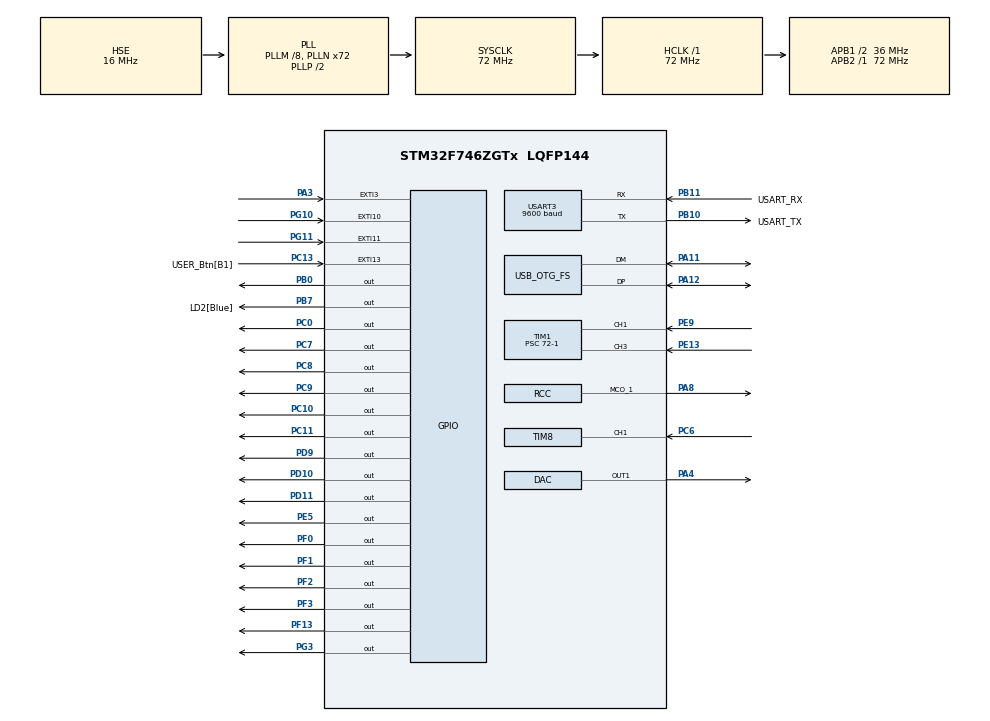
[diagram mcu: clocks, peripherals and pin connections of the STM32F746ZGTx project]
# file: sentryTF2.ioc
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Mcu.Family=STM32F7
NVIC.USART3_IRQn=true\:0\:0\:false\:false\:true\:true\:true
TIM8.ICPolarity_CH2=TIM_INPUTCHANNELPOLARITY_FALLING
RCC.CortexFreq_Value=72000000
PB10.GPIO_Speed=GPIO_SPEED_FREQ_LOW
PB10.Mode=Asynchronous
NVIC.TIM6_DAC_IRQn=true\:0\:0\:false\:false\:true\:true\:true
PC10.Signal=GPIO_Output
NVIC.EXTI3_IRQn=true\:0\:0\:false\:false\:true\:true\:true
PA11.Mode=Device_Only
PC13.GPIO_Label=USER_Btn[B1]
PB11.Signal=USART3_RX
PG11.Signal=GPXTI11
RCC.SYSCLKSource=RCC_SYSCLKSOURCE_PLLCLK
ProjectManager.StackSize=0x400
PB11.GPIO_Speed=GPIO_SPEED_FREQ_LOW
USART3.VirtualMode-Asynchronous=VM_ASYNC
VP_TIM1_VS_ControllerModeReset.Mode=Reset Mode
PA12.Signal=USB_OTG_FS_DP
TIM1.Prescaler=72-1
USART3.BaudRate=9600
PH0/OSC_IN.Mode=HSE-External-Oscillator
RCC.HCLKFreq_Value=72000000
Dma.DAC1.0.PeriphInc=DMA_PINC_DISABLE
RCC.APB2TimFreq_Value=72000000
TIM3.Period=65535-1
PC7.Signal=GPIO_Output
PH1/OSC_OUT.Signal=RCC_OSC_OUT
PE5.Signal=GPIO_Output
Dma.DAC1.0.Direction=DMA_MEMORY_TO_PERIPH
RCC.AHBFreq_Value=72000000
NVIC.EXTI15_10_IRQn=true\:0\:0\:false\:false\:true\:true\:true
RCC.HSE_VALUE=16000000
PB3.Mode=Trace_Asynchronous_SW
Dma.DAC1.0.Priority=DMA_PRIORITY_HIGH
PE13.Signal=S_TIM1_CH3
DAC.DAC_Trigger=DAC_TRIGGER_T6_TRGO
PE9.Signal=S_TIM1_CH1
Dma.DAC1.0.FIFOMode=DMA_FIFOMODE_DISABLE
TIM1.Channel-Input_Capture3_from_TI3=TIM_CHANNEL_3
PA14.Mode=Trace_Asynchronous_SW
TIM3.Prescaler=72-1
PB7.Signal=GPIO_Output
PA8.Signal=RCC_MCO_1
TIM6.Period=1632-1
PF3.Signal=GPIO_Output
PH1/OSC_OUT.Mode=HSE-External-Oscillator
TIM1.Channel-Input_Capture2_from_TI1=TIM_CHANNEL_2
VP_TIM1_VS_ClockSourceINT.Mode=Internal
PB7.GPIO_Label=LD2[Blue]
Mcu.Package=LQFP144
Dma.DAC1.0.PeriphDataAlignment=DMA_PDATAALIGN_HALFWORD
Dma.DAC1.0.Mode=DMA_CIRCULAR
USB_OTG_FS.VirtualMode=Device_Only
TIM8.Prescaler=72-1
TIM1.ICPolarity_CH2=TIM_INPUTCHANNELPOLARITY_FALLING
RCC.APB1TimFreq_Value=72000000
TIM1.ICPolarity_CH4=TIM_INPUTCHANNELPOLARITY_FALLING
PF0.Signal=GPIO_Output
PC0.GPIO_PuPd=GPIO_PULLUP
Dma.Request0=DAC1
VP_TIM3_VS_ClockSourceINT.Mode=Internal
PA3.Signal=GPXTI3
SH.COMP_DAC1_group.0=DAC_OUT1,DAC_OUT1
PG11.GPIO_ModeDefaultEXTI=GPIO_MODE_IT_RISING_FALLING
Dma.DAC1.0.Instance=DMA1_Stream5
PG3.Signal=GPIO_Output
PC13.Signal=GPXTI13
PC11.Signal=GPIO_Output
PC8.Signal=GPIO_Output
TIM6.Prescaler=0
PC6.Signal=S_TIM8_CH1
VP_TIM6_VS_ClockSourceINT.Mode=Enable_Timer
PB11.GPIO_Label=USART_RX
TIM8.Channel-Input_Capture1_from_TI1=TIM_CHANNEL_1
PD9.Signal=GPIO_Output
PG10.GPIO_ModeDefaultEXTI=GPIO_MODE_IT_RISING_FALLING
PC0.Signal=GPIO_Output
RCC.APB1CLKDivider=RCC_HCLK_DIV2
PG10.Signal=GPXTI10
Dma.DAC1.0.MemDataAlignment=DMA_MDATAALIGN_HALFWORD
PD10.Signal=GPIO_Output
PA13.Signal=SYS_JTMS-SWDIO
NVIC.TIM8_CC_IRQn=true\:0\:0\:false\:false\:true\:true\:true
SH.S_TIM1_CH1.0=TIM1_CH1,TriggerSource_TI1FP1
SH.S_TIM1_CH1.1=TIM1_CH1,Input_Capture1_from_TI1
SH.S_TIM1_CH1.2=TIM1_CH1,Input_Capture2_from_TI1
PB11.Mode=Asynchronous
ProjectManager.TargetToolchain=STM32CubeIDE
PB10.GPIO_Label=USART_TX
NVIC.DMA1_Stream5_IRQn=true\:0\:0\:false\:false\:true\:false\:true
VP_TIM8_VS_ClockSourceINT.Mode=Internal
PF2.Signal=GPIO_Output
RCC.USBFreq_Value=48000000
RCC.LSE_VALUE=32768
PB10.Signal=USART3_TX
SH.S_TIM8_CH1.0=TIM8_CH1,TriggerSource_TI1FP1
SH.S_TIM8_CH1.1=TIM8_CH1,Input_Capture1_from_TI1
SH.S_TIM8_CH1.2=TIM8_CH1,Input_Capture2_from_TI1
board=custom
RCC.VCOOutputFreq_Value=144000000
PH0/OSC_IN.Signal=RCC_OSC_IN
RCC.APB2Freq_Value=72000000
TIM6.TIM_MasterOutputTrigger=TIM_TRGO_UPDATE
PF13.Signal=GPIO_Output
PF1.Signal=GPIO_Output
PA13.Mode=Trace_Asynchronous_SW
Mcu.Name=STM32F746ZGTx
NVIC.TIM1_CC_IRQn=true\:0\:0\:false\:false\:true\:true\:true
PB3.Signal=SYS_JTDO-SWO
PA4.Signal=COMP_DAC1_group
RCC.SYSCLKFreq_VALUE=72000000
PA12.Mode=Device_Only
Dma.DAC1.0.MemInc=DMA_MINC_ENABLE
TIM1.Channel-Input_Capture1_from_TI1=TIM_CHANNEL_1
PD11.Signal=GPIO_Output
PA11.Signal=USB_OTG_FS_DM
SH.S_TIM1_CH3.1=TIM1_CH3,Input_Capture4_from_TI3
PA14.Signal=SYS_JTCK-SWCLK
ProjectManager.HeapSize=0x200
SH.S_TIM1_CH3.0=TIM1_CH3,Input_Capture3_from_TI3
RCC.HSI_VALUE=16000000
RCC.PLLQ=3
NVIC.PriorityGroup=NVIC_PRIORITYGROUP_4
RCC.PLLM=8
TIM8.Channel-Input_Capture2_from_TI1=TIM_CHANNEL_2
RCC.PLLN=72
PA8.Mode=Clock-out-1
PC9.Signal=GPIO_Output
RCC.APB1Freq_Value=36000000
PB0.Signal=GPIO_Output
VP_TIM8_VS_ControllerModeReset.Mode=Reset Mode
TIM1.Channel-Input_Capture4_from_TI3=TIM_CHANNEL_4

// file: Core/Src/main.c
/* USER CODE BEGIN Header */
/**
  ******************************************************************************
  * @file           : main.c
  * @brief          : Main program body
  ******************************************************************************
  * @attention
  *
  * <h2><center>&copy; Copyright (c) 2021 STMicroelectronics.
  * All rights reserved.</center></h2>
  *
  * This software component is licensed by ST under BSD 3-Clause license,
  * the "License"; You may not use this file except in compliance with the
  * License. You may obtain a copy of the License at:
  *                        opensource.org/licenses/BSD-3-Clause
  *
  ******************************************************************************
  */
/* USER CODE END Header */
#include "main.h"

/* USER CODE BEGIN Includes */
#include "math.h"
#include "string.h"
/* USER CODE END Includes */

/* USER CODE BEGIN PM */
#define PI 3.1415926
#define stepsPerRev (200*4) // quarter step
/* USER CODE END PM */

DAC_HandleTypeDef hdac;
DMA_HandleTypeDef hdma_dac1;

TIM_HandleTypeDef htim1;
TIM_HandleTypeDef htim3;
TIM_HandleTypeDef htim6;
TIM_HandleTypeDef htim8;

UART_HandleTypeDef huart3;

PCD_HandleTypeDef hpcd_USB_OTG_FS;

void SystemClock_Config(void);
static void MX_GPIO_Init(void);
static void MX_DMA_Init(void);
static void MX_TIM1_Init(void);
static void MX_TIM3_Init(void);
static void MX_DAC_Init(void);
static void MX_USART3_UART_Init(void);
static void MX_TIM8_Init(void);
static void MX_TIM6_Init(void);
static void MX_USB_OTG_FS_PCD_Init(void);
/* USER CODE BEGIN PFP */
static void delay_us(uint16_t us);
static void calcObjDist(uint32_t totalTime, uint8_t sensorNumber);
static void sensorRoutine();
static void sentryFireRoutine();
static void sentrySapped(uint8_t status);
static void stepper_step_angle(float angle, float rpm, uint8_t direction);
static void step();
static void playAudio(uint8_t audioTrack);
//static void getSineVal(); Use to test DAC
/* USER CODE END PFP */

/* USER CODE BEGIN 0 */
/* ----------------- Ultrasonic sensor variables ------------------- */
uint8_t leftSensorFirstCapt = 0, centerSensorFirstCapt = 0, rightSensorFirstCapt = 0;
uint32_t totalTimeLeft = 0, totalTimeCenter = 0, totalTimeRight = 0;
int32_t totalFinal = 0;
int velSound = 34300; // in cm/s
int distanceLeft = 0, distanceCenter = 0, distanceRight = 0;

/* ----------------- Sentry stats variables ------------------- */
uint8_t sentryHealth = 100;
extern uint8_t shells = 100;

/* ----------------- Audio variables ------------------- */
int count = 0;
uint8_t *tempPointer_DAC; // 8 bit data, so 8 bit pointer
extern uint8_t *__SENTRY_SHOOT, *__SENTRY_SPOT, *__SENTRY_SCAN, *__SENTRY_EMPTY;
int sentryShoot_wavSize = 62330;
int sentrySpot_wavSize = 29764;
int sentryScan_wavSize = 35396;
int sentryEmpty_wavSize = 2678;
uint8_t *sentryShootWavPointer = (uint8_t*)&__SENTRY_SHOOT;
uint8_t *sentrySpotWavPointer = (uint8_t*)&__SENTRY_SPOT;
uint8_t *sentryScanWavPointer = (uint8_t*)&__SENTRY_SCAN;
uint8_t *sentryEmptyWavPointer = (uint8_t*)&__SENTRY_EMPTY;
uint16_t volatile wavBuffer[512];

/* ----------------- Use to test DAC ------------------- */
//uint16_t samples = 100;
//uint32_t sineVal[100];

/*void getSineVal(){ // Use to test DAC
	for(int i = 0; i < samples; i++){
		sineVal[i] = (sin(2*i*PI/samples)+1)*((0xFFF+1)/2);
	}
}*/

void delay_us(uint16_t us){ // Delay microseconds
	__HAL_TIM_SET_COUNTER(&htim3,0); // Set counter start to 0
	while(__HAL_TIM_GET_COUNTER(&htim3) < us);
}

void HAL_TIM_IC_CaptureCallback(TIM_HandleTypeDef *htim){
	/* Left Sensor */
	if(htim == &htim1 && htim->Channel == HAL_TIM_ACTIVE_CHANNEL_1){
		if(leftSensorFirstCapt == 0) leftSensorFirstCapt++;
		else if(leftSensorFirstCapt == 1){
			totalTimeLeft = HAL_TIM_ReadCapturedValue(htim, TIM_CHANNEL_2); //Retrieves pulse width value from ultrasonic
			calcObjDist(totalTimeLeft,0);
			leftSensorFirstCapt--;
		}
	}
	/* Center Sensor */
	if(htim == &htim1 && htim->Channel == HAL_TIM_ACTIVE_CHANNEL_3){
		if(centerSensorFirstCapt == 0) centerSensorFirstCapt++;
		else if(centerSensorFirstCapt == 1){
			totalTimeCenter = HAL_TIM_ReadCapturedValue(htim, TIM_CHANNEL_4); //Retrieves pulse width value from ultrasonic
			calcObjDist(totalTimeCenter,1);
			centerSensorFirstCapt--;
		}
	}
	/* Right Sensor */
	if(htim == &htim8 && htim->Channel == HAL_TIM_ACTIVE_CHANNEL_1){
		if(rightSensorFirstCapt == 0) rightSensorFirstCapt++;
		else if(rightSensorFirstCapt == 1){
			totalTimeRight = HAL_TIM_ReadCapturedValue(htim, TIM_CHANNEL_2); //Retrieves pulse width value from ultrasonic
			calcObjDist(totalTimeRight,2);
			rightSensorFirstCapt--;
		}
	}
}

void calcObjDist(uint32_t totalTime, uint8_t sensorNumber){
	totalFinal = totalTime/2;
	switch(sensorNumber){
		case 0: // Left sensor
			distanceLeft = totalFinal * velSound * pow(10,-6);
			break;
		case 1: // Center sensor
			distanceCenter = totalFinal * velSound * pow(10,-6);
			break;
		case 2: // Right sensor
			distanceRight = totalFinal * velSound * pow(10,-6);
			break;
	}

}

void sensorRoutine(){
	HAL_GPIO_WritePin(GPIOD, GPIO_PIN_9, GPIO_PIN_SET); // Left sensor
	HAL_GPIO_WritePin(GPIOD, GPIO_PIN_10, GPIO_PIN_SET); // Center sensor
	HAL_GPIO_WritePin(GPIOD, GPIO_PIN_11, GPIO_PIN_SET); // Right sensor
	delay_us(100);
	HAL_GPIO_WritePin(GPIOD, GPIO_PIN_9, GPIO_PIN_RESET); // Left sensor
	HAL_GPIO_WritePin(GPIOD, GPIO_PIN_10, GPIO_PIN_RESET); // Center sensor
	HAL_GPIO_WritePin(GPIOD, GPIO_PIN_11, GPIO_PIN_RESET); // Right sensor
	HAL_Delay(100);
}

void sentryFireRoutine(){
	if(shells > 0){ // Ammo not empty
		UART3_TransferChar('1'); // Tell PDA App the sentry is firing
		shells =- 10;
		for(int i = 0; i < 12; i++){
		  HAL_GPIO_TogglePin(GPIOF, GPIO_PIN_0);
		  HAL_GPIO_TogglePin(GPIOF, GPIO_PIN_1);
		  playAudio(3); // Play sentry Fire sound
		  HAL_Delay(10);
		  HAL_GPIO_TogglePin(GPIOF, GPIO_PIN_0);
		  HAL_GPIO_TogglePin(GPIOF, GPIO_PIN_1);
		  HAL_Delay(10);
		  //HAL_Delay(240);
		}
	}
	if(shells <= 0){
		playAudio(4); // Sentry out of shells firing sound
	}
}

void sentrySapped(uint8_t status){
	if(status == 0){
		UART3_TransferChar('3'); // Tell PDA App the sentry has been unsapped
		HAL_GPIO_WritePin(GPIOC, GPIO_PIN_7, GPIO_PIN_RESET); // A4988 ENABLE Pin trigger, will re-enable motor
	}
	else{
		UART3_TransferChar('2'); // Tell PDA App the sentry has been sapped
		HAL_GPIO_WritePin(GPIOC, GPIO_PIN_7, GPIO_PIN_SET); // A4988 ENABLE Pin trigger, will disable motor
	}
}

void HAL_GPIO_EXTI_Callback (uint16_t GPIO_Pin){
	if(GPIO_Pin == GPIO_PIN_10){
		if(HAL_GPIO_ReadPin(GPIOG, GPIO_PIN_10) == GPIO_PIN_RESET && HAL_GPIO_ReadPin(GPIOG, GPIO_PIN_11) == GPIO_PIN_RESET){ // Hall sensors go low
			sentrySapped(1);
		}
		else if(HAL_GPIO_ReadPin(GPIOG, GPIO_PIN_10) == GPIO_PIN_SET && HAL_GPIO_ReadPin(GPIOG, GPIO_PIN_11) == GPIO_PIN_SET){ // Hall sensors go back to high
			sentrySapped(0);
			HAL_GPIO_WritePin(GPIOC, GPIO_PIN_7, GPIO_PIN_RESET); // A4988 ENABLE Pin trigger, will re-enable motor
		}
	}
}

void playAudio(uint8_t audioTrack){
	switch(audioTrack){
		case 1: // sentry scan sound
			tempPointer_DAC = (uint8_t *)sentryScanWavPointer;
			count = sentryScan_wavSize;
			break;
		case 2: // sentry spot client sound
			tempPointer_DAC = (uint8_t *)sentrySpotWavPointer;
			count = sentrySpot_wavSize;
			break;
		case 3: // sentry firing sound
			tempPointer_DAC = (uint8_t *)sentryShootWavPointer;
			count = sentryShoot_wavSize;
			break;
		case 4: // sentry empty clip sound
			tempPointer_DAC = (uint8_t *)sentryEmptyWavPointer;
			count = sentryEmpty_wavSize;
	}
	for(int i = 0; i < 512; i++){
		wavBuffer[i] = *tempPointer_DAC << 4;
		tempPointer_DAC++;
	}
	count -= 512;
	while(count > 0){
		HAL_DAC_Start_DMA(&hdac, DAC_CHANNEL_1, (uint32_t*)wavBuffer, 512, DAC_ALIGN_12B_R);
	}
	HAL_DAC_Stop_DMA(&hdac, DAC_CHANNEL_1);
}

void stepper_set_rpm(float rpm){
	delay_us(60000000/stepsPerRev/rpm);
}

void step(){ // A4988 Step pin
	HAL_GPIO_WritePin(GPIOC, GPIO_PIN_8, GPIO_PIN_SET);
	delay_us(1);
	HAL_GPIO_WritePin(GPIOC, GPIO_PIN_8, GPIO_PIN_RESET);
}

void stepper_step_angle(float angle, float rpm, uint8_t direction){
	float anglePerStep = 1.8/4; // Quarter step
	int numOfSteps = (int) (angle/anglePerStep);
	for(int i = 0; i < numOfSteps; i++){
		if(direction == 0) {// Clockwise
			HAL_GPIO_WritePin(GPIOC, GPIO_PIN_9, GPIO_PIN_RESET);
			step();
			stepper_set_rpm(rpm);
		}
		if(direction == 1) {// Counter Clockwise
			HAL_GPIO_WritePin(GPIOC, GPIO_PIN_9, GPIO_PIN_SET);
			step();
			stepper_set_rpm(rpm);
		}
	}
}

/* My UART functions below and in the interrupt handler write directly to the registers because I struggled with the HAL functions and read online that
 * the HAL UART functions are not that great and most people seem to say just write your own.
 */
void UART3_TransferChar(char c){
	USART3->CR1 |= 1 << 3; //Set TE to 1t
	USART3->TDR = c;
	while(!(USART3->ISR & (1<<6))); // Wait for TC bit
	USART3->CR1 &= ~(1<<3); //Set TE to 0
}

void UART3_TransferString(char str[]){
	for(int i = 0; i < strlen(str); i++){
		UART3_TransferChar(str[i]);
	}
}

/* USER CODE END 0 */

int main(void)
{

  /* MCU Configuration--------------------------------------------------------*/

  /* Reset of all peripherals, Initializes the Flash interface and the Systick. */
  HAL_Init();

  /* Configure the system clock */
  SystemClock_Config();

  /* Initialize all configured peripherals */
  MX_GPIO_Init();
  MX_DMA_Init();
  MX_TIM1_Init();
  MX_TIM3_Init();
  MX_DAC_Init();
  MX_USART3_UART_Init();
  MX_TIM8_Init();
  MX_TIM6_Init();
  MX_USB_OTG_FS_PCD_Init();
  /* USER CODE BEGIN 2 */
  HAL_TIM_IC_Start_IT(&htim1, TIM_CHANNEL_1);
  HAL_TIM_IC_Start_IT(&htim1, TIM_CHANNEL_2);
  HAL_TIM_IC_Start_IT(&htim1, TIM_CHANNEL_3);
  HAL_TIM_IC_Start_IT(&htim1, TIM_CHANNEL_4);
  HAL_TIM_IC_Start_IT(&htim8, TIM_CHANNEL_1);
  HAL_TIM_IC_Start_IT(&htim8, TIM_CHANNEL_2);
  HAL_TIM_Base_Start(&htim3);

  //getSineVal(); Use to test DAC with sine function
  HAL_DAC_Start(&hdac, DAC_CHANNEL_1);
  HAL_TIM_Base_Start(&htim6);
  //HAL_DAC_Start_DMA(&hdac, DAC_CHANNEL_1, sineVal, 100, DAC_ALIGN_12B_R); Use to test DAC with sine function

  USART3->CR1 |= (1<<5); // Enable Receive Data Interrupt
  //USART3->CR1 |= (1<<7); // Enable Transfer Data Interrupt

  HAL_GPIO_WritePin(GPIOG, GPIO_PIN_3, GPIO_PIN_SET); // Board Status LED
  /* USER CODE END 2 */

  /* Infinite loop */
  /* USER CODE BEGIN WHILE */
  while (1)
  {
	  /* ---- Set the sentry's angle, RPM and direction. Have sensors active ---- */
	  stepper_step_angle(90,7.5,1); // 90 degree rotation at 7.5 RPM, to the left
	  stepper_step_angle(90,7.5,0); // 90 degree rotation at 7.5 RPM, to the right
	  sensorRoutine();

	  /* ----------------------- Sentry responds when object within approx. 15-16cm/6in --------------------------- */
	  if(distanceLeft < 16 && distanceLeft < distanceCenter && distanceLeft < distanceRight){
	   	  playAudio(2); // Spotted client sound
		  stepper_step_angle(45,15,1); // Turn left 45, at a rate of 15 RPM
	   	  HAL_GPIO_WritePin(GPIOC, GPIO_PIN_7, GPIO_PIN_SET); // A4988 ENABLE Pin trigger, will disable motor so it stops moving
		  sentryFireRoutine();
	   	  HAL_GPIO_WritePin(GPIOC, GPIO_PIN_7, GPIO_PIN_RESET); // A4988 ENABLE Pin trigger, will re-enable motor after sentryFireRoutine returns
		  stepper_step_angle(45,7.5,0); // Return to last position
	  }
	  if(distanceCenter < 16 && distanceCenter < distanceLeft && distanceCenter < distanceRight){
	   	  playAudio(2); // Spotted client sound
	   	  HAL_GPIO_WritePin(GPIOC, GPIO_PIN_7, GPIO_PIN_SET); // A4988 ENABLE Pin trigger, will disable motor so it stops moving
		  sentryFireRoutine();
	   	  HAL_GPIO_WritePin(GPIOC, GPIO_PIN_7, GPIO_PIN_RESET); // A4988 ENABLE Pin trigger, will re-enable motor after sentryFireRoutine returns
	  }
	  if(distanceRight < 16 && distanceRight < distanceCenter && distanceRight < distanceLeft){
	   	  playAudio(2); // Spotted client sound
		  stepper_step_angle(45,15,0); // Turn right 45, at a rate of 15 RPM
	   	  HAL_GPIO_WritePin(GPIOC, GPIO_PIN_7, GPIO_PIN_SET); // A4988 ENABLE Pin trigger, will disable motor so it stops moving
		  sentryFireRoutine();
	   	  HAL_GPIO_WritePin(GPIOC, GPIO_PIN_7, GPIO_PIN_RESET); // A4988 ENABLE Pin trigger, will re-enable motor after sentryFireRoutine returns
		  stepper_step_angle(45,7.5,1); // Return to last position
	  }
    /* USER CODE END WHILE */

  }
}

void SystemClock_Config(void)
{
  RCC_OscInitTypeDef RCC_OscInitStruct = {0};
  RCC_ClkInitTypeDef RCC_ClkInitStruct = {0};
  RCC_PeriphCLKInitTypeDef PeriphClkInitStruct = {0};

  /** Configure the main internal regulator output voltage
  */
  __HAL_RCC_PWR_CLK_ENABLE();
  __HAL_PWR_VOLTAGESCALING_CONFIG(PWR_REGULATOR_VOLTAGE_SCALE3);
  /** Initializes the RCC Oscillators according to the specified parameters
  * in the RCC_OscInitTypeDef structure.
  */
  RCC_OscInitStruct.OscillatorType = RCC_OSCILLATORTYPE_HSI|RCC_OSCILLATORTYPE_HSE;
  RCC_OscInitStruct.HSEState = RCC_HSE_ON;
  RCC_OscInitStruct.HSIState = RCC_HSI_ON;
  RCC_OscInitStruct.HSICalibrationValue = RCC_HSICALIBRATION_DEFAULT;
  RCC_OscInitStruct.PLL.PLLState = RCC_PLL_ON;
  RCC_OscInitStruct.PLL.PLLSource = RCC_PLLSOURCE_HSE;
  RCC_OscInitStruct.PLL.PLLM = 8;
  RCC_OscInitStruct.PLL.PLLN = 72;
  RCC_OscInitStruct.PLL.PLLP = RCC_PLLP_DIV2;
  RCC_OscInitStruct.PLL.PLLQ = 3;
  if (HAL_RCC_OscConfig(&RCC_OscInitStruct) != HAL_OK)
  {
    Error_Handler();
  }
  /** Initializes the CPU, AHB and APB buses clocks
  */
  RCC_ClkInitStruct.ClockType = RCC_CLOCKTYPE_HCLK|RCC_CLOCKTYPE_SYSCLK
                              |RCC_CLOCKTYPE_PCLK1|RCC_CLOCKTYPE_PCLK2;
  RCC_ClkInitStruct.SYSCLKSource = RCC_SYSCLKSOURCE_PLLCLK;
  RCC_ClkInitStruct.AHBCLKDivider = RCC_SYSCLK_DIV1;
  RCC_ClkInitStruct.APB1CLKDivider = RCC_HCLK_DIV2;
  RCC_ClkInitStruct.APB2CLKDivider = RCC_HCLK_DIV1;

  if (HAL_RCC_ClockConfig(&RCC_ClkInitStruct, FLASH_LATENCY_2) != HAL_OK)
  {
    Error_Handler();
  }
  PeriphClkInitStruct.PeriphClockSelection = RCC_PERIPHCLK_USART3|RCC_PERIPHCLK_CLK48;
  PeriphClkInitStruct.Usart3ClockSelection = RCC_USART3CLKSOURCE_PCLK1;
  PeriphClkInitStruct.Clk48ClockSelection = RCC_CLK48SOURCE_PLL;
  if (HAL_RCCEx_PeriphCLKConfig(&PeriphClkInitStruct) != HAL_OK)
  {
    Error_Handler();
  }
  HAL_RCC_MCOConfig(RCC_MCO1, RCC_MCO1SOURCE_HSI, RCC_MCODIV_1);
}

static void MX_DAC_Init(void)
{

  DAC_ChannelConfTypeDef sConfig = {0};

  /** DAC Initialization
  */
  hdac.Instance = DAC;
  if (HAL_DAC_Init(&hdac) != HAL_OK)
  {
    Error_Handler();
  }
  /** DAC channel OUT1 config
  */
  sConfig.DAC_Trigger = DAC_TRIGGER_T6_TRGO;
  sConfig.DAC_OutputBuffer = DAC_OUTPUTBUFFER_ENABLE;
  if (HAL_DAC_ConfigChannel(&hdac, &sConfig, DAC_CHANNEL_1) != HAL_OK)
  {
    Error_Handler();
  }

}

static void MX_TIM1_Init(void)
{

  TIM_ClockConfigTypeDef sClockSourceConfig = {0};
  TIM_SlaveConfigTypeDef sSlaveConfig = {0};
  TIM_MasterConfigTypeDef sMasterConfig = {0};
  TIM_IC_InitTypeDef sConfigIC = {0};

  htim1.Instance = TIM1;
  htim1.Init.Prescaler = 72-1;
  htim1.Init.CounterMode = TIM_COUNTERMODE_UP;
  htim1.Init.Period = 65535;
  htim1.Init.ClockDivision = TIM_CLOCKDIVISION_DIV1;
  htim1.Init.RepetitionCounter = 0;
  htim1.Init.AutoReloadPreload = TIM_AUTORELOAD_PRELOAD_DISABLE;
  if (HAL_TIM_Base_Init(&htim1) != HAL_OK)
  {
    Error_Handler();
  }
  sClockSourceConfig.ClockSource = TIM_CLOCKSOURCE_INTERNAL;
  if (HAL_TIM_ConfigClockSource(&htim1, &sClockSourceConfig) != HAL_OK)
  {
    Error_Handler();
  }
  if (HAL_TIM_IC_Init(&htim1) != HAL_OK)
  {
    Error_Handler();
  }
  sSlaveConfig.SlaveMode = TIM_SLAVEMODE_RESET;
  sSlaveConfig.InputTrigger = TIM_TS_TI1FP1;
  sSlaveConfig.TriggerPolarity = TIM_INPUTCHANNELPOLARITY_RISING;
  sSlaveConfig.TriggerFilter = 0;
  if (HAL_TIM_SlaveConfigSynchro(&htim1, &sSlaveConfig) != HAL_OK)
  {
    Error_Handler();
  }
  sMasterConfig.MasterOutputTrigger = TIM_TRGO_RESET;
  sMasterConfig.MasterOutputTrigger2 = TIM_TRGO2_RESET;
  sMasterConfig.MasterSlaveMode = TIM_MASTERSLAVEMODE_DISABLE;
  if (HAL_TIMEx_MasterConfigSynchronization(&htim1, &sMasterConfig) != HAL_OK)
  {
    Error_Handler();
  }
  sConfigIC.ICPolarity = TIM_INPUTCHANNELPOLARITY_RISING;
  sConfigIC.ICSelection = TIM_ICSELECTION_DIRECTTI;
  sConfigIC.ICPrescaler = TIM_ICPSC_DIV1;
  sConfigIC.ICFilter = 0;
  if (HAL_TIM_IC_ConfigChannel(&htim1, &sConfigIC, TIM_CHANNEL_1) != HAL_OK)
  {
    Error_Handler();
  }
  sConfigIC.ICPolarity = TIM_INPUTCHANNELPOLARITY_FALLING;
  sConfigIC.ICSelection = TIM_ICSELECTION_INDIRECTTI;
  if (HAL_TIM_IC_ConfigChannel(&htim1, &sConfigIC, TIM_CHANNEL_2) != HAL_OK)
  {
    Error_Handler();
  }
  sConfigIC.ICPolarity = TIM_INPUTCHANNELPOLARITY_RISING;
  sConfigIC.ICSelection = TIM_ICSELECTION_DIRECTTI;
  if (HAL_TIM_IC_ConfigChannel(&htim1, &sConfigIC, TIM_CHANNEL_3) != HAL_OK)
  {
    Error_Handler();
  }
  sConfigIC.ICPolarity = TIM_INPUTCHANNELPOLARITY_FALLING;
  sConfigIC.ICSelection = TIM_ICSELECTION_INDIRECTTI;
  if (HAL_TIM_IC_ConfigChannel(&htim1, &sConfigIC, TIM_CHANNEL_4) != HAL_OK)
  {
    Error_Handler();
  }

}

static void MX_TIM3_Init(void)
{

  TIM_ClockConfigTypeDef sClockSourceConfig = {0};
  TIM_MasterConfigTypeDef sMasterConfig = {0};

  htim3.Instance = TIM3;
  htim3.Init.Prescaler = 72-1;
  htim3.Init.CounterMode = TIM_COUNTERMODE_UP;
  htim3.Init.Period = 65535-1;
  htim3.Init.ClockDivision = TIM_CLOCKDIVISION_DIV1;
  htim3.Init.AutoReloadPreload = TIM_AUTORELOAD_PRELOAD_DISABLE;
  if (HAL_TIM_Base_Init(&htim3) != HAL_OK)
  {
    Error_Handler();
  }
  sClockSourceConfig.ClockSource = TIM_CLOCKSOURCE_INTERNAL;
  if (HAL_TIM_ConfigClockSource(&htim3, &sClockSourceConfig) != HAL_OK)
  {
    Error_Handler();
  }
  sMasterConfig.MasterOutputTrigger = TIM_TRGO_RESET;
  sMasterConfig.MasterSlaveMode = TIM_MASTERSLAVEMODE_DISABLE;
  if (HAL_TIMEx_MasterConfigSynchronization(&htim3, &sMasterConfig) != HAL_OK)
  {
    Error_Handler();
  }

}

static void MX_TIM6_Init(void)
{

  TIM_MasterConfigTypeDef sMasterConfig = {0};

  htim6.Instance = TIM6;
  htim6.Init.Prescaler = 0;
  htim6.Init.CounterMode = TIM_COUNTERMODE_UP;
  htim6.Init.Period = 816-1;
  htim6.Init.AutoReloadPreload = TIM_AUTORELOAD_PRELOAD_DISABLE;
  if (HAL_TIM_Base_Init(&htim6) != HAL_OK)
  {
    Error_Handler();
  }
  sMasterConfig.MasterOutputTrigger = TIM_TRGO_UPDATE;
  sMasterConfig.MasterSlaveMode = TIM_MASTERSLAVEMODE_DISABLE;
  if (HAL_TIMEx_MasterConfigSynchronization(&htim6, &sMasterConfig) != HAL_OK)
  {
    Error_Handler();
  }

}

static void MX_TIM8_Init(void)
{

  TIM_ClockConfigTypeDef sClockSourceConfig = {0};
  TIM_SlaveConfigTypeDef sSlaveConfig = {0};
  TIM_MasterConfigTypeDef sMasterConfig = {0};
  TIM_IC_InitTypeDef sConfigIC = {0};

  htim8.Instance = TIM8;
  htim8.Init.Prescaler = 72-1;
  htim8.Init.CounterMode = TIM_COUNTERMODE_UP;
  htim8.Init.Period = 65535;
  htim8.Init.ClockDivision = TIM_CLOCKDIVISION_DIV1;
  htim8.Init.RepetitionCounter = 0;
  htim8.Init.AutoReloadPreload = TIM_AUTORELOAD_PRELOAD_DISABLE;
  if (HAL_TIM_Base_Init(&htim8) != HAL_OK)
  {
    Error_Handler();
  }
  sClockSourceConfig.ClockSource = TIM_CLOCKSOURCE_INTERNAL;
  if (HAL_TIM_ConfigClockSource(&htim8, &sClockSourceConfig) != HAL_OK)
  {
    Error_Handler();
  }
  if (HAL_TIM_IC_Init(&htim8) != HAL_OK)
  {
    Error_Handler();
  }
  sSlaveConfig.SlaveMode = TIM_SLAVEMODE_RESET;
  sSlaveConfig.InputTrigger = TIM_TS_TI1FP1;
  sSlaveConfig.TriggerPolarity = TIM_INPUTCHANNELPOLARITY_RISING;
  sSlaveConfig.TriggerFilter = 0;
  if (HAL_TIM_SlaveConfigSynchro(&htim8, &sSlaveConfig) != HAL_OK)
  {
    Error_Handler();
  }
  sMasterConfig.MasterOutputTrigger = TIM_TRGO_RESET;
  sMasterConfig.MasterOutputTrigger2 = TIM_TRGO2_RESET;
  sMasterConfig.MasterSlaveMode = TIM_MASTERSLAVEMODE_DISABLE;
  if (HAL_TIMEx_MasterConfigSynchronization(&htim8, &sMasterConfig) != HAL_OK)
  {
    Error_Handler();
  }
  sConfigIC.ICPolarity = TIM_INPUTCHANNELPOLARITY_RISING;
  sConfigIC.ICSelection = TIM_ICSELECTION_DIRECTTI;
  sConfigIC.ICPrescaler = TIM_ICPSC_DIV1;
  sConfigIC.ICFilter = 0;
  if (HAL_TIM_IC_ConfigChannel(&htim8, &sConfigIC, TIM_CHANNEL_1) != HAL_OK)
  {
    Error_Handler();
  }
  sConfigIC.ICPolarity = TIM_INPUTCHANNELPOLARITY_FALLING;
  sConfigIC.ICSelection = TIM_ICSELECTION_INDIRECTTI;
  if (HAL_TIM_IC_ConfigChannel(&htim8, &sConfigIC, TIM_CHANNEL_2) != HAL_OK)
  {
    Error_Handler();
  }

}

static void MX_USART3_UART_Init(void)
{

  huart3.Instance = USART3;
  huart3.Init.BaudRate = 9600;
  huart3.Init.WordLength = UART_WORDLENGTH_8B;
  huart3.Init.StopBits = UART_STOPBITS_1;
  huart3.Init.Parity = UART_PARITY_NONE;
  huart3.Init.Mode = UART_MODE_TX_RX;
  huart3.Init.HwFlowCtl = UART_HWCONTROL_NONE;
  huart3.Init.OverSampling = UART_OVERSAMPLING_16;
  huart3.Init.OneBitSampling = UART_ONE_BIT_SAMPLE_DISABLE;
  huart3.AdvancedInit.AdvFeatureInit = UART_ADVFEATURE_NO_INIT;
  if (HAL_UART_Init(&huart3) != HAL_OK)
  {
    Error_Handler();
  }

}

static void MX_USB_OTG_FS_PCD_Init(void)
{

  hpcd_USB_OTG_FS.Instance = USB_OTG_FS;
  hpcd_USB_OTG_FS.Init.dev_endpoints = 6;
  hpcd_USB_OTG_FS.Init.speed = PCD_SPEED_FULL;
  hpcd_USB_OTG_FS.Init.dma_enable = DISABLE;
  hpcd_USB_OTG_FS.Init.phy_itface = PCD_PHY_EMBEDDED;
  hpcd_USB_OTG_FS.Init.Sof_enable = DISABLE;
  hpcd_USB_OTG_FS.Init.low_power_enable = DISABLE;
  hpcd_USB_OTG_FS.Init.lpm_enable = DISABLE;
  hpcd_USB_OTG_FS.Init.vbus_sensing_enable = DISABLE;
  hpcd_USB_OTG_FS.Init.use_dedicated_ep1 = DISABLE;
  if (HAL_PCD_Init(&hpcd_USB_OTG_FS) != HAL_OK)
  {
    Error_Handler();
  }

}

static void MX_DMA_Init(void)
{

  /* DMA controller clock enable */
  __HAL_RCC_DMA1_CLK_ENABLE();

  /* DMA interrupt init */
  /* DMA1_Stream5_IRQn interrupt configuration */
  HAL_NVIC_SetPriority(DMA1_Stream5_IRQn, 0, 0);
  HAL_NVIC_EnableIRQ(DMA1_Stream5_IRQn);

}

static void MX_GPIO_Init(void)
{
  GPIO_InitTypeDef GPIO_InitStruct = {0};

  /* GPIO Ports Clock Enable */
  __HAL_RCC_GPIOE_CLK_ENABLE();
  __HAL_RCC_GPIOC_CLK_ENABLE();
  __HAL_RCC_GPIOF_CLK_ENABLE();
  __HAL_RCC_GPIOH_CLK_ENABLE();
  __HAL_RCC_GPIOA_CLK_ENABLE();
  __HAL_RCC_GPIOB_CLK_ENABLE();
  __HAL_RCC_GPIOD_CLK_ENABLE();
  __HAL_RCC_GPIOG_CLK_ENABLE();

  /*Configure GPIO pin Output Level */
  HAL_GPIO_WritePin(GPIOE, GPIO_PIN_5, GPIO_PIN_RESET);

  /*Configure GPIO pin Output Level */
  HAL_GPIO_WritePin(GPIOF, GPIO_PIN_0|GPIO_PIN_1|GPIO_PIN_2|GPIO_PIN_3
                          |GPIO_PIN_13, GPIO_PIN_RESET);

  /*Configure GPIO pin Output Level */
  HAL_GPIO_WritePin(GPIOC, GPIO_PIN_0|GPIO_PIN_7|GPIO_PIN_8|GPIO_PIN_9
                          |GPIO_PIN_10|GPIO_PIN_11, GPIO_PIN_RESET);

  /*Configure GPIO pin Output Level */
  HAL_GPIO_WritePin(GPIOB, GPIO_PIN_0|LD2_Pin, GPIO_PIN_RESET);

  /*Configure GPIO pin Output Level */
  HAL_GPIO_WritePin(GPIOD, GPIO_PIN_9|GPIO_PIN_10|GPIO_PIN_11, GPIO_PIN_RESET);

  /*Configure GPIO pin Output Level */
  HAL_GPIO_WritePin(GPIOG, GPIO_PIN_3, GPIO_PIN_RESET);

  /*Configure GPIO pin : PE5 */
  GPIO_InitStruct.Pin = GPIO_PIN_5;
  GPIO_InitStruct.Mode = GPIO_MODE_OUTPUT_PP;
  GPIO_InitStruct.Pull = GPIO_NOPULL;
  GPIO_InitStruct.Speed = GPIO_SPEED_FREQ_LOW;
  HAL_GPIO_Init(GPIOE, &GPIO_InitStruct);

  /*Configure GPIO pin : USER_Btn_Pin */
  GPIO_InitStruct.Pin = USER_Btn_Pin;
  GPIO_InitStruct.Mode = GPIO_MODE_IT_RISING;
  GPIO_InitStruct.Pull = GPIO_NOPULL;
  HAL_GPIO_Init(USER_Btn_GPIO_Port, &GPIO_InitStruct);

  /*Configure GPIO pins : PF0 PF1 PF2 PF3
                           PF13 */
  GPIO_InitStruct.Pin = GPIO_PIN_0|GPIO_PIN_1|GPIO_PIN_2|GPIO_PIN_3
                          |GPIO_PIN_13;
  GPIO_InitStruct.Mode = GPIO_MODE_OUTPUT_PP;
  GPIO_InitStruct.Pull = GPIO_NOPULL;
  GPIO_InitStruct.Speed = GPIO_SPEED_FREQ_LOW;
  HAL_GPIO_Init(GPIOF, &GPIO_InitStruct);

  /*Configure GPIO pin : PC0 */
  GPIO_InitStruct.Pin = GPIO_PIN_0;
  GPIO_InitStruct.Mode = GPIO_MODE_OUTPUT_PP;
  GPIO_InitStruct.Pull = GPIO_PULLUP;
  GPIO_InitStruct.Speed = GPIO_SPEED_FREQ_LOW;
  HAL_GPIO_Init(GPIOC, &GPIO_InitStruct);

  /*Configure GPIO pin : PA3 */
  GPIO_InitStruct.Pin = GPIO_PIN_3;
  GPIO_InitStruct.Mode = GPIO_MODE_IT_RISING;
  GPIO_InitStruct.Pull = GPIO_NOPULL;
  HAL_GPIO_Init(GPIOA, &GPIO_InitStruct);

  /*Configure GPIO pins : PB0 LD2_Pin */
  GPIO_InitStruct.Pin = GPIO_PIN_0|LD2_Pin;
  GPIO_InitStruct.Mode = GPIO_MODE_OUTPUT_PP;
  GPIO_InitStruct.Pull = GPIO_NOPULL;
  GPIO_InitStruct.Speed = GPIO_SPEED_FREQ_LOW;
  HAL_GPIO_Init(GPIOB, &GPIO_InitStruct);

  /*Configure GPIO pins : PD9 PD10 PD11 */
  GPIO_InitStruct.Pin = GPIO_PIN_9|GPIO_PIN_10|GPIO_PIN_11;
  GPIO_InitStruct.Mode = GPIO_MODE_OUTPUT_PP;
  GPIO_InitStruct.Pull = GPIO_NOPULL;
  GPIO_InitStruct.Speed = GPIO_SPEED_FREQ_LOW;
  HAL_GPIO_Init(GPIOD, &GPIO_InitStruct);

  /*Configure GPIO pin : PG3 */
  GPIO_InitStruct.Pin = GPIO_PIN_3;
  GPIO_InitStruct.Mode = GPIO_MODE_OUTPUT_PP;
  GPIO_InitStruct.Pull = GPIO_NOPULL;
  GPIO_InitStruct.Speed = GPIO_SPEED_FREQ_LOW;
  HAL_GPIO_Init(GPIOG, &GPIO_InitStruct);

  /*Configure GPIO pins : PC7 PC8 PC9 PC10
                           PC11 */
  GPIO_InitStruct.Pin = GPIO_PIN_7|GPIO_PIN_8|GPIO_PIN_9|GPIO_PIN_10
                          |GPIO_PIN_11;
  GPIO_InitStruct.Mode = GPIO_MODE_OUTPUT_PP;
  GPIO_InitStruct.Pull = GPIO_NOPULL;
  GPIO_InitStruct.Speed = GPIO_SPEED_FREQ_LOW;
  HAL_GPIO_Init(GPIOC, &GPIO_InitStruct);

  /*Configure GPIO pin : PA8 */
  GPIO_InitStruct.Pin = GPIO_PIN_8;
  GPIO_InitStruct.Mode = GPIO_MODE_AF_PP;
  GPIO_InitStruct.Pull = GPIO_NOPULL;
  GPIO_InitStruct.Speed = GPIO_SPEED_FREQ_LOW;
  GPIO_InitStruct.Alternate = GPIO_AF0_MCO;
  HAL_GPIO_Init(GPIOA, &GPIO_InitStruct);

  /*Configure GPIO pins : PG10 PG11 */
  GPIO_InitStruct.Pin = GPIO_PIN_10|GPIO_PIN_11;
  GPIO_InitStruct.Mode = GPIO_MODE_IT_RISING_FALLING;
  GPIO_InitStruct.Pull = GPIO_NOPULL;
  HAL_GPIO_Init(GPIOG, &GPIO_InitStruct);

  /* EXTI interrupt init*/
  HAL_NVIC_SetPriority(EXTI3_IRQn, 0, 0);
  HAL_NVIC_EnableIRQ(EXTI3_IRQn);

  HAL_NVIC_SetPriority(EXTI15_10_IRQn, 0, 0);
  HAL_NVIC_EnableIRQ(EXTI15_10_IRQn);

}

/* USER CODE BEGIN 4 */

void HAL_DAC_ConvHalfCpltCallbackCh1(DAC_HandleTypeDef* hdac){
	for(int i = 0; i < 255; i++){
		wavBuffer[i] = *tempPointer_DAC << 4; // 12 bit data to increase volume
		tempPointer_DAC++;
	}
}

void HAL_DAC_ConvCpltCallbackCh1(DAC_HandleTypeDef* hdac){
	for(int i = 255; i < 512; i++){
		wavBuffer[i] = *tempPointer_DAC << 4;
		tempPointer_DAC++;
	}
	count -= 512;
}

/* USER CODE END 4 */

void Error_Handler(void)
{
  __disable_irq();
  while (1)
  {
  }
}

/************************ (C) COPYRIGHT STMicroelectronics *****END OF FILE****/
